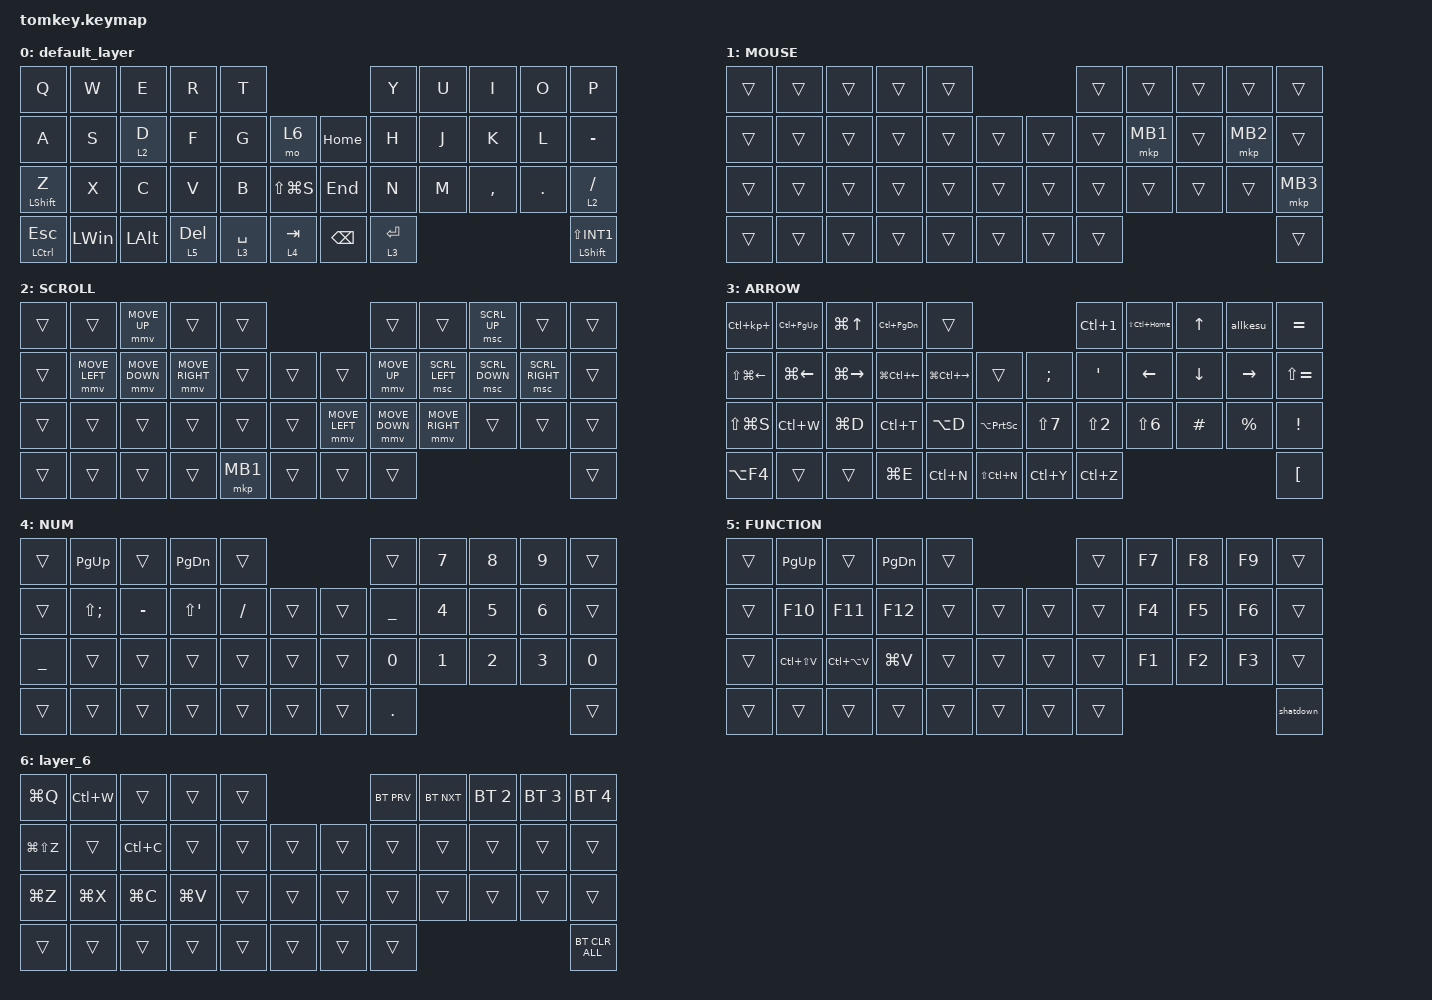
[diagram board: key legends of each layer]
#include <behaviors.dtsi>
#include <dt-bindings/zmk/bt.h>
#include <dt-bindings/zmk/keys.h>
#include <dt-bindings/zmk/pointing.h>

/ {
    macros {
        kakko: atto {
            compatible = "zmk,behavior-macro";
            #binding-cells = <0>;
            bindings = <&kp LANG1 &kp RIGHT_BRACKET &kp BACKSLASH &kp ENTER &kp LEFT>;
            label = "ATTO";
        };

        shatdown: shatdown {
            compatible = "zmk,behavior-macro";
            #binding-cells = <0>;
            bindings = <&kp LG(X) &kp U &kp U>;
            label = "SHATDOWN";
            tap-ms = <10>;
            wait-ms = <10>;
        };

        marukakko: marukakko {
            compatible = "zmk,behavior-macro";
            #binding-cells = <0>;
            bindings = <&kp LANG1 &kp LS(NUMBER_8) &kp LS(NUMBER_9) &kp ENTER &kp LEFT>;
            label = "MARUKAKKO";
        };

        sumikakko: sumikakko {
            compatible = "zmk,behavior-macro";
            #binding-cells = <0>;
            bindings = <&kp LANG1 &kp RIGHT_BRACKET &kp BACKSLASH &kp SPACE>;
            label = "SUMIKAKKO";
        };

        allkesu: allkesu {
            compatible = "zmk,behavior-macro";
            #binding-cells = <0>;
            bindings = <&kp END &kp LS(LC(HOME))>;
            label = "ALLKESU";
        };
    };

    combos {
        compatible = "zmk,combos";

        kana {
            bindings = <&mt LANG1 LANG1>;
            key-positions = <18 19>;
        };

        l-shift {
            bindings = <&mt LANG2 LANG2>;
            key-positions = <20 19>;
        };

        eisu {
            bindings = <&kp LEFT_ALT>;
            key-positions = <20 33>;
        };

        esc {
            bindings = <&kp ESCAPE>;
            key-positions = <11 12 13>;
        };

        shift {
            bindings = <&kp LEFT_ALT>;
            key-positions = <12 11>;
        };

        win {
            bindings = <&kp LEFT_GUI>;
            key-positions = <11 22>;
        };

        enter {
            bindings = <&kp ENTER>;
            key-positions = <12 13>;
        };

        leftclik {
            bindings = <&mkp MB2>;
            key-positions = <11 13>;
        };

        lock {
            bindings = <&kp LS(CAPSLOCK)>;
            key-positions = <18 20>;
        };
    };

    keymap {
        compatible = "zmk,keymap";

        default_layer {
            bindings = <
&kp Q                    &kp W         &kp E         &kp R      &kp T                                          &kp Y        &kp U  &kp I      &kp O    &kp P
&kp A                    &kp S         &lt 2 D       &kp F      &kp G        &mo 6              &kp HOME       &kp H        &kp J  &kp K      &kp L    &kp MINUS
&mt LEFT_SHIFT Z         &kp X         &kp C         &kp V      &kp B        &kp LS(LG(S))      &kp END        &kp N        &kp M  &kp COMMA  &kp DOT  &lt 2 SLASH
&mt LEFT_CONTROL ESCAPE  &kp LEFT_WIN  &kp LEFT_ALT  &lt 5 DEL  &lt 3 SPACE  &lt 4 TAB          &kp BACKSPACE  &lt 3 ENTER                             &mt LEFT_SHIFT LS(INT1)
            >;
        };

        MOUSE {
            bindings = <
&trans  &trans  &trans  &trans  &trans                      &trans  &trans    &trans  &trans    &trans
&trans  &trans  &trans  &trans  &trans  &trans      &trans  &trans  &mkp MB1  &trans  &mkp MB2  &trans
&trans  &trans  &trans  &trans  &trans  &trans      &trans  &trans  &trans    &trans  &trans    &mkp MB3
&trans  &trans  &trans  &trans  &trans  &trans      &trans  &trans                              &trans
            >;
        };

        SCROLL {
            bindings = <
&trans  &trans          &mmv MOVE_UP    &trans           &trans                                &trans          &trans           &msc SCRL_UP    &trans           &trans
&trans  &mmv MOVE_LEFT  &mmv MOVE_DOWN  &mmv MOVE_RIGHT  &trans    &trans      &trans          &mmv MOVE_UP    &msc SCRL_LEFT   &msc SCRL_DOWN  &msc SCRL_RIGHT  &trans
&trans  &trans          &trans          &trans           &trans    &trans      &mmv MOVE_LEFT  &mmv MOVE_DOWN  &mmv MOVE_RIGHT  &trans          &trans           &trans
&trans  &trans          &trans          &trans           &mkp MB1  &trans      &trans          &trans                                                            &trans
            >;
        };

        ARROW {
            bindings = <
&kp LC(KP_PLUS)   &kp LC(PAGE_UP)     &kp LG(UP_ARROW)  &kp LC(PAGE_DOWN)       &trans                                                        &kp LC(NUMBER_1)  &kp LS(LC(HOME))  &kp UP_ARROW    &allkesu         &kp EQUAL
&kp LS(LG(LEFT))  &kp LG(LEFT_ARROW)  &kp LG(RIGHT)     &kp LG(LC(LEFT_ARROW))  &kp LG(LC(RIGHT))  &trans                   &kp SEMI          &kp APOSTROPHE    &kp LEFT_ARROW    &kp DOWN_ARROW  &kp RIGHT_ARROW  &kp LS(EQUAL)
&kp LS(LG(S))     &kp LC(W)           &kp LG(D)         &kp LC(T)               &kp LA(D)          &kp LA(PRINTSCREEN)      &kp LS(NUMBER_7)  &kp LS(NUMBER_2)  &kp LS(NUMBER_6)  &kp HASH        &kp PERCENT      &kp EXCLAMATION
&kp LA(F4)        &trans              &trans            &kp LG(E)               &kp LC(N)          &kp LS(LC(N))            &kp LC(Y)         &kp LC(Z)                                                            &kp LEFT_BRACKET
            >;
        };

        NUM {
            bindings = <
&trans          &kp PAGE_UP   &trans     &kp PAGE_DOWN         &trans                         &trans          &kp NUMBER_7  &kp NUMBER_8  &kp NUMBER_9  &trans
&trans          &kp LS(SEMI)  &kp MINUS  &kp LS(SINGLE_QUOTE)  &kp SLASH  &trans      &trans  &kp UNDERSCORE  &kp NUMBER_4  &kp NUMBER_5  &kp NUMBER_6  &trans
&kp UNDERSCORE  &trans        &trans     &trans                &trans     &trans      &trans  &kp NUMBER_0    &kp NUMBER_1  &kp NUMBER_2  &kp NUMBER_3  &kp NUMBER_0
&trans          &trans        &trans     &trans                &trans     &trans      &trans  &kp PERIOD                                                &trans
            >;
        };

        FUNCTION {
            bindings = <
&trans  &kp PAGE_UP    &trans         &kp PAGE_DOWN  &trans                      &trans  &kp F7  &kp F8  &kp F9  &trans
&trans  &kp F10        &kp F11        &kp F12        &trans  &trans      &trans  &trans  &kp F4  &kp F5  &kp F6  &trans
&trans  &kp LC(LS(V))  &kp LC(LA(V))  &kp LG(V)      &trans  &trans      &trans  &trans  &kp F1  &kp F2  &kp F3  &trans
&trans  &trans         &trans         &trans         &trans  &trans      &trans  &trans                          &shatdown
            >;
        };

        layer_6 {
            bindings = <
&kp LG(Q)      &kp LC(W)  &trans     &trans     &trans                      &bt BT_PRV  &bt BT_NXT  &bt BT_SEL 2  &bt BT_SEL 3  &bt BT_SEL 4
&kp LG(LS(Z))  &trans     &kp LC(C)  &trans     &trans  &trans      &trans  &trans      &trans      &trans        &trans        &trans
&kp LG(Z)      &kp LG(X)  &kp LG(C)  &kp LG(V)  &trans  &trans      &trans  &trans      &trans      &trans        &trans        &trans
&trans         &trans     &trans     &trans     &trans  &trans      &trans  &trans                                              &bt BT_CLR_ALL
            >;
        };
    };
};
